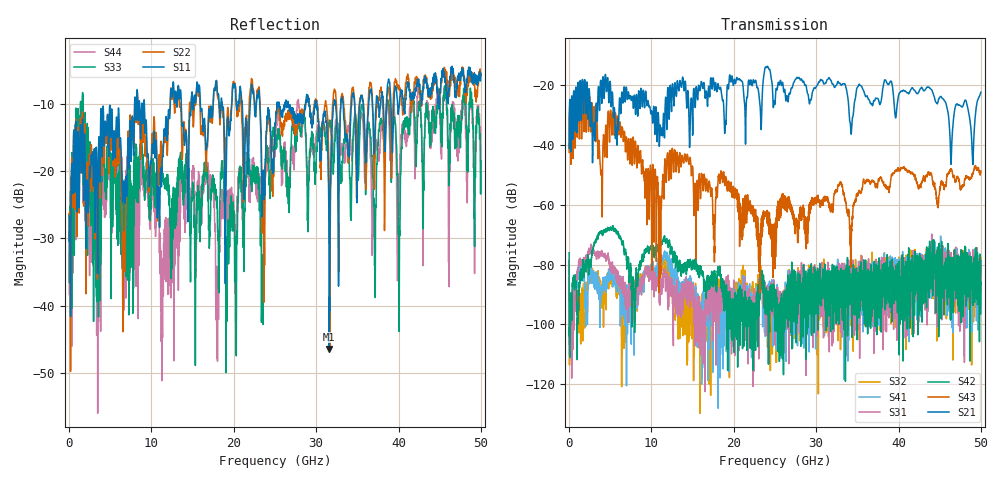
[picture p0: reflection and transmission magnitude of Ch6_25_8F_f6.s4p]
!Agilent Technologies,N5247A,US51170199,A.09.90.13
!Agilent N5247A: A.09.90.13
!Date: Wednesday, December 16, 2015 09:57:03
!Correction: S11(Full 4 Port(1,2,3,4))
!S12(Full 4 Port(1,2,3,4))
!S13(Full 4 Port(1,2,3,4))
!S14(Full 4 Port(1,2,3,4))
!S21(Full 4 Port(1,2,3,4))
!S22(Full 4 Port(1,2,3,4))
!S23(Full 4 Port(1,2,3,4))
!S24(Full 4 Port(1,2,3,4))
!S31(Full 4 Port(1,2,3,4))
!S32(Full 4 Port(1,2,3,4))
!S33(Full 4 Port(1,2,3,4))
!S34(Full 4 Port(1,2,3,4))
!S41(Full 4 Port(1,2,3,4))
!S42(Full 4 Port(1,2,3,4))
!S43(Full 4 Port(1,2,3,4))
!S44(Full 4 Port(1,2,3,4))
!S4P File: Measurements: <S11,S12,S13,S14>,
!<S21,S22,S23,S24>,
!<S31,S32,S33,S34>,
!<S41,S42,S43,S44>:
# Hz S  dB  R 50
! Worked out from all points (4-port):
!   3201 points, 10 MHz to 50 GHz, reference 50 ohm
!   strongest paths, dB at 10 MHz, 12.51 GHz, 25 GHz, 37.5 GHz, 50 GHz:
!     S21: -41.2, -21.6, -26.3, -24.5, -22.4
!     S43: -42.5, -42.0, -81.3, -52.6, -48.7
!     S42: -76.0, -75.2, -90.9, -89.8, -86.4
!     S31: -78.6, -86.2, -103.4, -87.3, -86.0
!     S41: -79.9, -80.4, -106.3, -79.9, -78.4
!     S32: -84.8, -86.5, -95.1, -84.7, -82.9
!   lowest |S11| = -46.4 dB at 31.58 GHz (marker M1), VSWR 1.01, Z = 49.6 - j0.188 ohm
!   |S11| at or under -10 dB: start of sweep to 7.959 GHz; 9.143 GHz to 12.29 GHz (3.142 GHz wide, 29.3 % of centre); 23.13 GHz to 25.24 GHz (2.108 GHz wide, 8.72 % of centre)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
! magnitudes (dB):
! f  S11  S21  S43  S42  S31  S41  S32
! 10 MHz  -30.4  -41.2  -42.5  -76.0  -78.6  -79.9  -84.8
! 5.774 GHz  -12.0  -38.0  -36.7  -69.3  -83.5  -89.2  -86.6
! 11.05 GHz  -22.9  -33.5  -58.6  -73.4  -87.2  -78.7  -84.6
! 12.54 GHz  -8.5  -19.9  -41.1  -76.1  -89.7  -81.9  -87.0
! 23.08 GHz  -8.2  -24.0  -82.5  -89.5  -85.7  -93.0  -86.4
! 31.58 GHz  -46.4  -17.6  -61.1  -88.3  -88.9  -90.4  -85.2
! 50 GHz  -5.6  -22.4  -48.7  -86.4  -86.0  -78.4  -82.9
